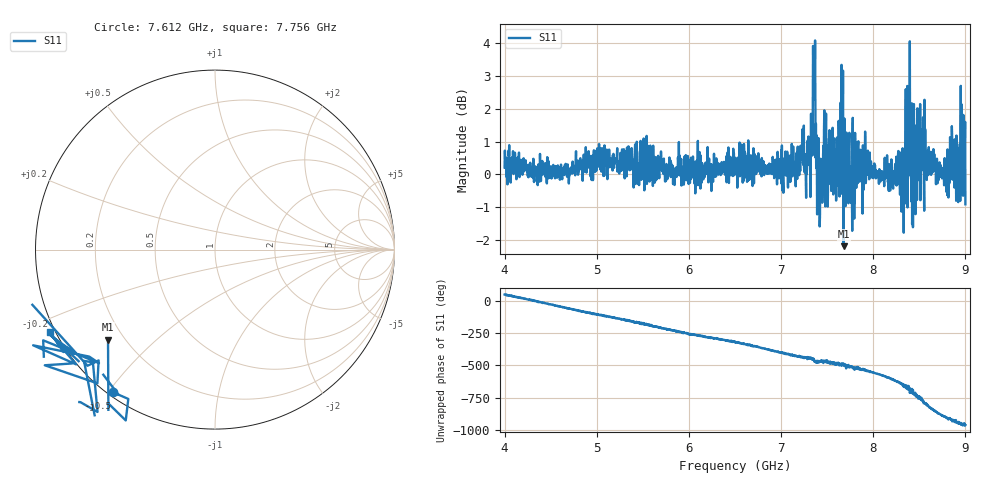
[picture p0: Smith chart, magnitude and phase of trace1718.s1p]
! Created with skrf 1.8.0 (http://scikit-rf.org).
# Hz S RI R 50.0
!freq ReS11 ImS11
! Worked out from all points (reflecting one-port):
!   1601 points, 4 GHz to 9 GHz, reference 50 ohm
!   lowest |S11| = -2.2 dB at 7.678 GHz (marker M1), VSWR 8.03, Z = 7.04 - j17.9 ohm
!   phase of S11 starts at 52 deg and turns -1016 deg over the sweep
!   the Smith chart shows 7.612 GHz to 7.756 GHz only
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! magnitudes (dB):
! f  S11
! 4 GHz  0.2
! 4.625 GHz  -0.1
! 5.25 GHz  0.2
! 5.875 GHz  0.2
! 6.5 GHz  0.1
! 7.125 GHz  0.2
! 7.294 GHz  0.7
! 7.319 GHz  -0.7
! 7.347 GHz  3.9
! 7.369 GHz  4.1
! 7.397 GHz  -0.4
! 7.416 GHz  -0.3
! 7.478 GHz  1.7
! 7.591 GHz  0.1
! 7.647 GHz  2.2
! 7.678 GHz  -2.2
! 7.75 GHz  0.0
! 7.828 GHz  0.7
! 8.097 GHz  0.1
! 8.259 GHz  -0.1
! 8.316 GHz  0.5
! 8.375 GHz  -0.2
! 8.447 GHz  1.2
! 8.544 GHz  1.3
! 8.597 GHz  0.0
! 8.747 GHz  -0.1
! 8.972 GHz  0.5
! 9 GHz  -0.9
